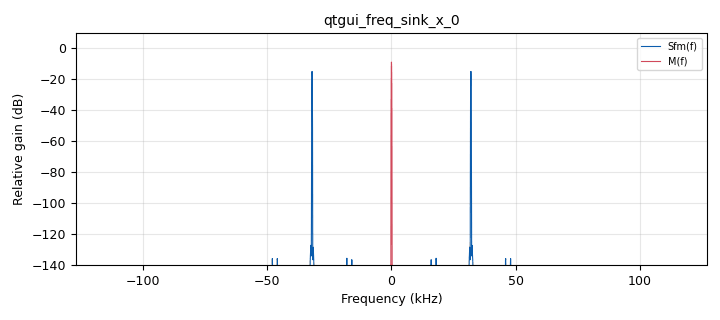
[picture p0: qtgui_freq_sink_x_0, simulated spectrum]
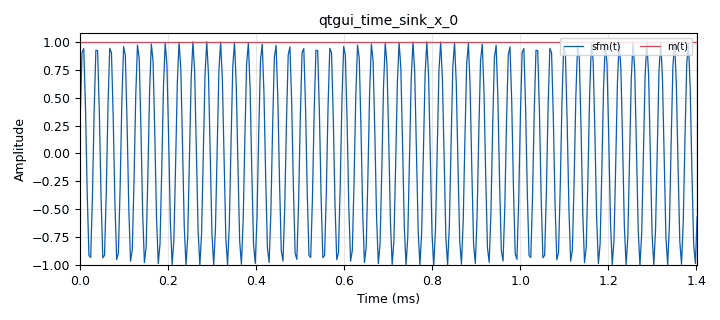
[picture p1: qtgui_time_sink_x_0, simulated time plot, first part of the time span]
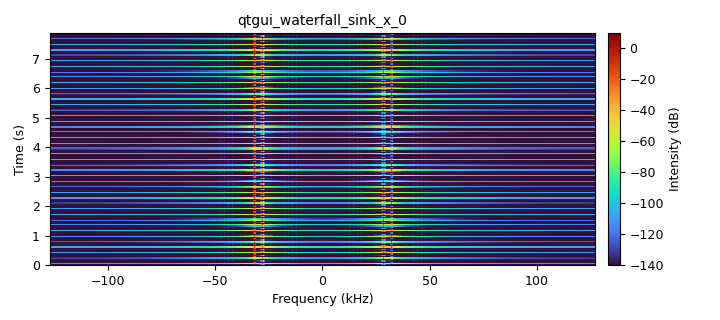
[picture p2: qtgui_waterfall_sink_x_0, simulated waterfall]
<?xml version='1.0' encoding='utf-8'?>
<?grc format='1' created='3.7.9'?>
<flow_graph>
<block>
<key>options</key>
<param><key>id</key><value>top_block</value></param>
<param><key>category</key><value>Custom</value></param>
<param><key>generate_options</key><value>qt_gui</value></param>
</block>
<block>
<key>variable_qtgui_range</key>
<param><key>id</key><value>Am</value></param>
<param><key>value</key><value>1</value></param>
<param><key>orient</key><value>Qt.Horizontal</value></param>
<param><key>start</key><value>0.25</value></param>
<param><key>step</key><value>0.25</value></param>
<param><key>stop</key><value>5</value></param>
</block>
<block>
<key>variable</key>
<param><key>id</key><value>fc</value></param>
<param><key>value</key><value>30000</value></param>
</block>
<block>
<key>variable_qtgui_range</key>
<param><key>id</key><value>fm</value></param>
<param><key>value</key><value>10</value></param>
<param><key>orient</key><value>Qt.Horizontal</value></param>
<param><key>start</key><value>10</value></param>
<param><key>step</key><value>10</value></param>
<param><key>stop</key><value>1000</value></param>
</block>
<block>
<key>variable</key>
<param><key>id</key><value>kvco</value></param>
<param><key>value</key><value>2000</value></param>
</block>
<block>
<key>variable</key>
<param><key>id</key><value>samp_rate</value></param>
<param><key>value</key><value>254000</value></param>
</block>
<block>
<key>analog_sig_source_x</key>
<param><key>id</key><value>analog_sig_source_x_0</value></param>
<param><key>amp</key><value>1</value></param>
<param><key>freq</key><value>fc</value></param>
<param><key>offset</key><value>0</value></param>
<param><key>type</key><value>complex</value></param>
<param><key>samp_rate</key><value>samp_rate</value></param>
<param><key>waveform</key><value>analog.GR_COS_WAVE</value></param>
</block>
<block>
<key>blocks_complex_to_real</key>
<param><key>id</key><value>blocks_complex_to_real_0</value></param>
</block>
<block>
<key>blocks_integrate_xx</key>
<param><key>id</key><value>blocks_integrate_xx_0</value></param>
<param><key>decim</key><value>1</value></param>
<param><key>type</key><value>float</value></param>
</block>
<block>
<key>blocks_multiply_xx</key>
<param><key>id</key><value>blocks_multiply_xx_0</value></param>
<param><key>type</key><value>complex</value></param>
</block>
<block>
<key>blocks_vco_c</key>
<param><key>id</key><value>blocks_vco_c_0</value></param>
<param><key>amplitude</key><value>1</value></param>
<param><key>samp_rate</key><value>samp_rate</value></param>
<param><key>sensitivity</key><value>2*3.14159265*kvco</value></param>
</block>
<block>
<key>qtgui_freq_sink_x</key>
<param><key>id</key><value>qtgui_freq_sink_x_0</value></param>
<param><key>bw</key><value>samp_rate</value></param>
<param><key>fc</key><value>0</value></param>
<param><key>ctrlpanel</key><value>True</value></param>
<param><key>fftsize</key><value>4096</value></param>
<param><key>grid</key><value>True</value></param>
<param><key>label1</key><value>Sfm(f)</value></param>
<param><key>label2</key><value>M(f)</value></param>
<param><key>nconnections</key><value>2</value></param>
<param><key>showports</key><value>True</value></param>
<param><key>type</key><value>float</value></param>
<param><key>wintype</key><value>firdes.WIN_BLACKMAN_hARRIS</value></param>
</block>
<block>
<key>qtgui_time_sink_x</key>
<param><key>id</key><value>qtgui_time_sink_x_0</value></param>
<param><key>ctrlpanel</key><value>True</value></param>
<param><key>grid</key><value>True</value></param>
<param><key>color1</key><value>"blue"</value></param>
<param><key>label1</key><value>sfm(t)</value></param>
<param><key>color2</key><value>"red"</value></param>
<param><key>label2</key><value>m(t)</value></param>
<param><key>nconnections</key><value>2</value></param>
<param><key>size</key><value>4096</value></param>
<param><key>srate</key><value>samp_rate</value></param>
<param><key>type</key><value>float</value></param>
</block>
<block>
<key>qtgui_waterfall_sink_x</key>
<param><key>id</key><value>qtgui_waterfall_sink_x_0</value></param>
<param><key>bw</key><value>samp_rate</value></param>
<param><key>fc</key><value>0</value></param>
<param><key>fftsize</key><value>4096</value></param>
<param><key>showports</key><value>True</value></param>
<param><key>type</key><value>float</value></param>
<param><key>wintype</key><value>firdes.WIN_BLACKMAN_hARRIS</value></param>
</block>
<block>
<key>analog_sig_source_x</key>
<param><key>id</key><value>v</value></param>
<param><key>amp</key><value>2*Am</value></param>
<param><key>freq</key><value>fm</value></param>
<param><key>offset</key><value>-Am</value></param>
<param><key>type</key><value>float</value></param>
<param><key>samp_rate</key><value>samp_rate</value></param>
<param><key>waveform</key><value>analog.GR_SQR_WAVE</value></param>
</block>
<connection><source_block_id>analog_sig_source_x_0</source_block_id><sink_block_id>blocks_multiply_xx_0</sink_block_id><source_key>0</source_key><sink_key>1</sink_key></connection>
<connection><source_block_id>blocks_complex_to_real_0</source_block_id><sink_block_id>qtgui_freq_sink_x_0</sink_block_id><source_key>0</source_key><sink_key>0</sink_key></connection>
<connection><source_block_id>blocks_complex_to_real_0</source_block_id><sink_block_id>qtgui_time_sink_x_0</sink_block_id><source_key>0</source_key><sink_key>0</sink_key></connection>
<connection><source_block_id>blocks_complex_to_real_0</source_block_id><sink_block_id>qtgui_waterfall_sink_x_0</sink_block_id><source_key>0</source_key><sink_key>0</sink_key></connection>
<connection><source_block_id>blocks_integrate_xx_0</source_block_id><sink_block_id>blocks_vco_c_0</sink_block_id><source_key>0</source_key><sink_key>0</sink_key></connection>
<connection><source_block_id>blocks_multiply_xx_0</source_block_id><sink_block_id>blocks_complex_to_real_0</sink_block_id><source_key>0</source_key><sink_key>0</sink_key></connection>
<connection><source_block_id>blocks_vco_c_0</source_block_id><sink_block_id>blocks_multiply_xx_0</sink_block_id><source_key>0</source_key><sink_key>0</sink_key></connection>
<connection><source_block_id>v</source_block_id><sink_block_id>blocks_integrate_xx_0</sink_block_id><source_key>0</source_key><sink_key>0</sink_key></connection>
<connection><source_block_id>v</source_block_id><sink_block_id>qtgui_freq_sink_x_0</sink_block_id><source_key>0</source_key><sink_key>1</sink_key></connection>
<connection><source_block_id>v</source_block_id><sink_block_id>qtgui_time_sink_x_0</sink_block_id><source_key>0</source_key><sink_key>1</sink_key></connection>
</flow_graph>
